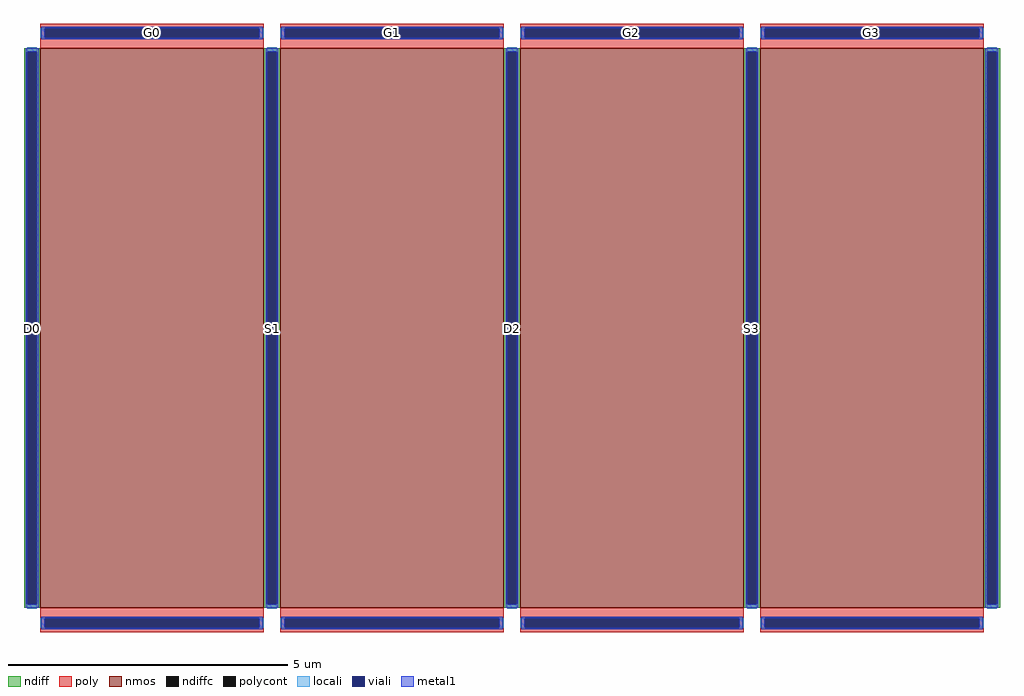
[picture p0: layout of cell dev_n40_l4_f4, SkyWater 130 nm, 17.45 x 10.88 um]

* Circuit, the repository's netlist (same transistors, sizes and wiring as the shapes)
* NGSPICE file created from dev_n40_l4_f4.ext - technology: sky130A

.subckt dev_n40_l4_f4 D0 G0 S1 G1 D2 G2 S3 G3
X0 S3 G2 D2 VSUBS sky130_fd_pr__nfet_01v8 ad=1.45 pd=10.29 as=1.45 ps=10.29 w=10 l=4
X1 a_1687_n1000# G3 S3 VSUBS sky130_fd_pr__nfet_01v8 ad=2.9 pd=20.58 as=1.45 ps=10.29 w=10 l=4
X2 S1 G0 D0 VSUBS sky130_fd_pr__nfet_01v8 ad=1.45 pd=10.29 as=2.9 ps=20.58 w=10 l=4
X3 D2 G1 S1 VSUBS sky130_fd_pr__nfet_01v8 ad=1.45 pd=10.29 as=1.45 ps=10.29 w=10 l=4
.ends

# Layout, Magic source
magic
tech sky130A
magscale 1 2
<< nmos >>
rect -1687 -1000 -887 1000
rect -829 -1000 -29 1000
rect 29 -1000 829 1000
rect 887 -1000 1687 1000
<< ndiff >>
rect -1745 988 -1687 1000
rect -1745 -988 -1733 988
rect -1699 -988 -1687 988
rect -1745 -1000 -1687 -988
rect -887 988 -829 1000
rect -887 -988 -875 988
rect -841 -988 -829 988
rect -887 -1000 -829 -988
rect -29 988 29 1000
rect -29 -988 -17 988
rect 17 -988 29 988
rect -29 -1000 29 -988
rect 829 988 887 1000
rect 829 -988 841 988
rect 875 -988 887 988
rect 829 -1000 887 -988
rect 1687 988 1745 1000
rect 1687 -988 1699 988
rect 1733 -988 1745 988
rect 1687 -1000 1745 -988
<< ndiffc >>
rect -1733 -988 -1699 988
rect -875 -988 -841 988
rect -17 -988 17 988
rect 841 -988 875 988
rect 1699 -988 1733 988
<< poly >>
rect -1687 1072 -887 1088
rect -1687 1038 -1671 1072
rect -903 1038 -887 1072
rect -1687 1000 -887 1038
rect -829 1072 -29 1088
rect -829 1038 -813 1072
rect -45 1038 -29 1072
rect -829 1000 -29 1038
rect 29 1072 829 1088
rect 29 1038 45 1072
rect 813 1038 829 1072
rect 29 1000 829 1038
rect 887 1072 1687 1088
rect 887 1038 903 1072
rect 1671 1038 1687 1072
rect 887 1000 1687 1038
rect -1687 -1038 -887 -1000
rect -1687 -1072 -1671 -1038
rect -903 -1072 -887 -1038
rect -1687 -1088 -887 -1072
rect -829 -1038 -29 -1000
rect -829 -1072 -813 -1038
rect -45 -1072 -29 -1038
rect -829 -1088 -29 -1072
rect 29 -1038 829 -1000
rect 29 -1072 45 -1038
rect 813 -1072 829 -1038
rect 29 -1088 829 -1072
rect 887 -1038 1687 -1000
rect 887 -1072 903 -1038
rect 1671 -1072 1687 -1038
rect 887 -1088 1687 -1072
<< polycont >>
rect -1671 1038 -903 1072
rect -813 1038 -45 1072
rect 45 1038 813 1072
rect 903 1038 1671 1072
rect -1671 -1072 -903 -1038
rect -813 -1072 -45 -1038
rect 45 -1072 813 -1038
rect 903 -1072 1671 -1038
<< locali >>
rect -1687 1038 -1671 1072
rect -903 1038 -887 1072
rect -829 1038 -813 1072
rect -45 1038 -29 1072
rect 29 1038 45 1072
rect 813 1038 829 1072
rect 887 1038 903 1072
rect 1671 1038 1687 1072
rect -1733 988 -1699 1004
rect -1733 -1004 -1699 -988
rect -875 988 -841 1004
rect -875 -1004 -841 -988
rect -17 988 17 1004
rect -17 -1004 17 -988
rect 841 988 875 1004
rect 841 -1004 875 -988
rect 1699 988 1733 1004
rect 1699 -1004 1733 -988
rect -1687 -1072 -1671 -1038
rect -903 -1072 -887 -1038
rect -829 -1072 -813 -1038
rect -45 -1072 -29 -1038
rect 29 -1072 45 -1038
rect 813 -1072 829 -1038
rect 887 -1072 903 -1038
rect 1671 -1072 1687 -1038
<< viali >>
rect -1671 1038 -903 1072
rect -813 1038 -45 1072
rect 45 1038 813 1072
rect 903 1038 1671 1072
rect -1733 -988 -1699 988
rect -875 -988 -841 988
rect -17 -988 17 988
rect 841 -988 875 988
rect 1699 -988 1733 988
rect -1671 -1072 -903 -1038
rect -813 -1072 -45 -1038
rect 45 -1072 813 -1038
rect 903 -1072 1671 -1038
<< metal1 >>
rect -1683 1072 -891 1078
rect -1683 1038 -1671 1072
rect -903 1038 -891 1072
rect -1683 1032 -891 1038
rect -825 1072 -33 1078
rect -825 1038 -813 1072
rect -45 1038 -33 1072
rect -825 1032 -33 1038
rect 33 1072 825 1078
rect 33 1038 45 1072
rect 813 1038 825 1072
rect 33 1032 825 1038
rect 891 1072 1683 1078
rect 891 1038 903 1072
rect 1671 1038 1683 1072
rect 891 1032 1683 1038
rect -1739 988 -1693 1000
rect -1739 -988 -1733 988
rect -1699 -988 -1693 988
rect -1739 -1000 -1693 -988
rect -881 988 -835 1000
rect -881 -988 -875 988
rect -841 -988 -835 988
rect -881 -1000 -835 -988
rect -23 988 23 1000
rect -23 -988 -17 988
rect 17 -988 23 988
rect -23 -1000 23 -988
rect 835 988 881 1000
rect 835 -988 841 988
rect 875 -988 881 988
rect 835 -1000 881 -988
rect 1693 988 1739 1000
rect 1693 -988 1699 988
rect 1733 -988 1739 988
rect 1693 -1000 1739 -988
rect -1683 -1038 -891 -1032
rect -1683 -1072 -1671 -1038
rect -903 -1072 -891 -1038
rect -1683 -1078 -891 -1072
rect -825 -1038 -33 -1032
rect -825 -1072 -813 -1038
rect -45 -1072 -33 -1038
rect -825 -1078 -33 -1072
rect 33 -1038 825 -1032
rect 33 -1072 45 -1038
rect 813 -1072 825 -1038
rect 33 -1078 825 -1072
rect 891 -1038 1683 -1032
rect 891 -1072 903 -1038
rect 1671 -1072 1683 -1038
rect 891 -1078 1683 -1072
<< labels >>
rlabel ndiffc -1716 0 -1716 0 0 D0
port 1 nsew
rlabel polycont -1287 1055 -1287 1055 0 G0
port 2 nsew
rlabel ndiffc -858 0 -858 0 0 S1
port 3 nsew
rlabel polycont -429 1055 -429 1055 0 G1
port 4 nsew
rlabel ndiffc 0 0 0 0 0 D2
port 5 nsew
rlabel polycont 429 1055 429 1055 0 G2
port 6 nsew
rlabel ndiffc 858 0 858 0 0 S3
port 7 nsew
rlabel polycont 1287 1055 1287 1055 0 G3
port 8 nsew
<< end >>
